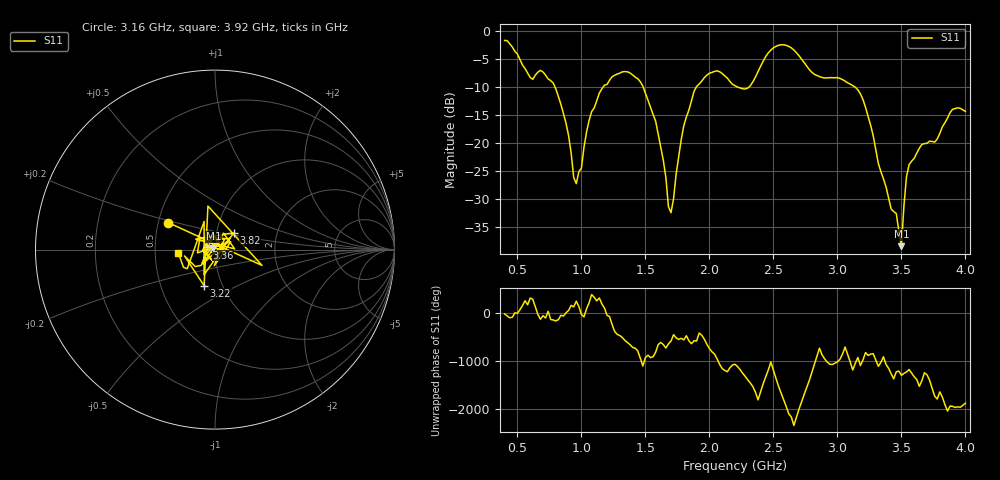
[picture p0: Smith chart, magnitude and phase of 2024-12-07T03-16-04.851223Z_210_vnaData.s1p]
!Created with skrf (http://scikit-rf.org).
# Hz S RI R 50.0
!freq ReS11 ImS11
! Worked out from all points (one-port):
!   181 points, 400 MHz to 4 GHz, reference 50 ohm
!   lowest |S11| = -38.4 dB at 3.5 GHz (marker M1), VSWR 1.02, Z = 49.1 + j0.779 ohm
!   |S11| at or under -10 dB: 794.9 MHz to 1.168 GHz (372.8 MHz wide, 38 % of centre); 1.484 GHz to 1.896 GHz (412.5 MHz wide, 24.4 % of centre); 3.141 GHz to end of sweep (the widest 3 of 4)
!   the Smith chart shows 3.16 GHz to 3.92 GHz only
!   S11 on the Smith chart (normalised r, x): 3.16 GHz: 0.56, +0.19; 3.22 GHz: 0.82, -0.34; 3.36 GHz: 0.91, +0.02; 3.82 GHz: 1.21, +0.23; 3.92 GHz: 0.66, -0.03
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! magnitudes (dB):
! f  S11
! 400 MHz  -1.6
! 600 MHz  -8.2
! 780 MHz  -9.2
! 860 MHz  -14.7
! 960 MHz  -27.2
! 1.08 GHz  -14.3
! 1.3 GHz  -7.5
! 1.5 GHz  -11.0
! 1.58 GHz  -16.0
! 1.7 GHz  -32.4
! 1.76 GHz  -22.4
! 1.9 GHz  -9.8
! 2.06 GHz  -7.0
! 2.2 GHz  -9.7
! 2.32 GHz  -9.7
! 2.52 GHz  -2.7
! 2.66 GHz  -3.3
! 3.1 GHz  -9.4
! 3.16 GHz  -10.4
! 3.22 GHz  -13.6
! 3.36 GHz  -26.4
! 3.46 GHz  -32.6
! 3.5 GHz  -38.4
! 3.54 GHz  -25.9
! 3.56 GHz  -23.8
! 3.82 GHz  -17.1
! 3.92 GHz  -13.8
! 4 GHz  -14.3
